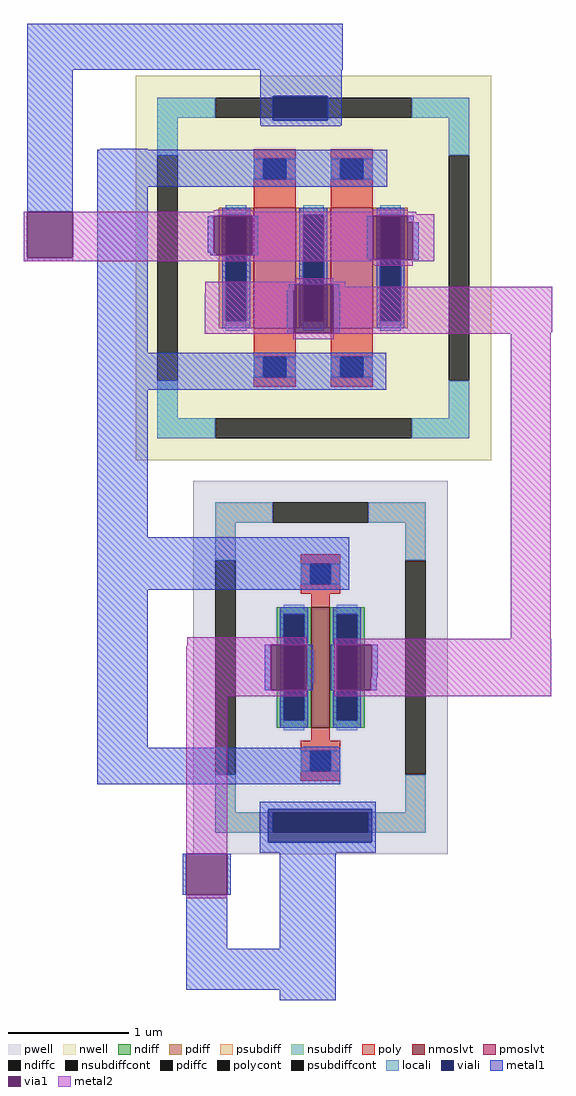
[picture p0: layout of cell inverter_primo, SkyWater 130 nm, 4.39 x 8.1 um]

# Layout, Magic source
magic
tech sky130A
magscale 1 2
<< viali >>
rect 552 2158 643 2198
rect 544 960 716 1015
<< metal1 >>
rect 144 2242 668 2318
rect 144 2006 220 2242
rect 531 2198 666 2242
rect 531 2158 552 2198
rect 643 2158 666 2198
rect 531 2150 666 2158
rect 533 2148 664 2150
rect 265 2109 344 2111
rect 144 1924 220 1930
rect 260 2048 742 2109
rect 260 1772 344 2048
rect 448 1999 458 2000
rect 444 1938 454 1999
rect 448 1934 458 1938
rect 518 1934 528 2000
rect 708 1928 718 2000
rect 776 1989 786 2000
rect 711 1927 721 1928
rect 784 1927 794 1989
rect 578 1876 588 1886
rect 652 1876 662 1886
rect 576 1805 586 1876
rect 653 1805 663 1876
rect 260 1711 740 1772
rect 260 1466 344 1711
rect 260 1379 679 1466
rect 260 1117 344 1379
rect 538 1212 548 1288
rect 608 1279 618 1288
rect 609 1223 619 1279
rect 608 1212 618 1223
rect 648 1212 658 1288
rect 716 1234 726 1288
rect 714 1212 724 1234
rect 260 1056 664 1117
rect 530 1015 723 1027
rect 530 960 544 1015
rect 716 960 723 1015
rect 530 942 723 960
rect 402 873 408 941
rect 476 873 482 941
rect 408 783 476 873
rect 563 783 656 942
rect 408 715 656 783
rect 563 698 656 715
<< via1 >>
rect 144 1930 220 2006
rect 458 1999 518 2000
rect 454 1938 518 1999
rect 458 1934 518 1938
rect 718 1989 776 2000
rect 718 1928 784 1989
rect 721 1927 784 1928
rect 588 1876 652 1886
rect 586 1805 653 1876
rect 548 1279 608 1288
rect 548 1223 609 1279
rect 548 1212 608 1223
rect 658 1234 716 1288
rect 658 1212 714 1234
rect 408 873 476 941
<< metal2 >>
rect 458 2009 518 2010
rect 454 2006 518 2009
rect 718 2006 776 2010
rect 138 1930 144 2006
rect 220 2002 790 2006
rect 220 2000 820 2002
rect 220 1999 458 2000
rect 220 1938 454 1999
rect 220 1934 458 1938
rect 518 1934 718 2000
rect 776 1989 820 2000
rect 220 1930 718 1934
rect 138 1928 718 1930
rect 138 1927 721 1928
rect 784 1927 820 1989
rect 138 1924 820 1927
rect 718 1918 784 1924
rect 721 1917 784 1918
rect 588 1890 652 1896
rect 440 1886 672 1890
rect 440 1876 588 1886
rect 652 1882 672 1886
rect 652 1876 1016 1882
rect 440 1870 586 1876
rect 439 1805 586 1870
rect 653 1806 1016 1876
rect 653 1805 1013 1806
rect 439 1804 1013 1805
rect 586 1795 653 1804
rect 410 1289 608 1300
rect 947 1298 1013 1804
rect 410 1288 609 1289
rect 410 1285 548 1288
rect 408 1212 548 1285
rect 608 1279 609 1288
rect 608 1213 609 1223
rect 654 1288 1014 1298
rect 408 1202 608 1212
rect 654 1212 658 1288
rect 716 1234 1014 1288
rect 714 1212 1014 1234
rect 654 1202 1014 1212
rect 408 941 476 1202
rect 408 867 476 873
use sky130_fd_pr__nfet_01v8_lvt_648S5X  XM22 ~/tt10-analog-template-psei-def/mag
transform 1 0 631 0 1 1250
box -211 -310 211 310
use sky130_fd_pr__pfet_01v8_lvt_4Q3NH3  XM25 ~/tt10-analog-template-psei-def/mag
transform 1 0 619 0 1 1913
box -295 -319 295 319
<< end >>

# cell sky130_fd_pr__nfet_01v8_lvt_648S5X: kit device sky130_fd_pr__nfet_01v8_lvt, w 1.0 l 0.15 m 1 nf 1 diffcov 100 polycov 100 guard 1 glc 1 grc 1 gtc 1 gbc 1 tbcov 100 rlcov 100 topc 1 botc 1 poverlap 0 doverlap 1 lmin 0.15 wmin 0.42 compatible {sky130_fd_pr__nfet_01v8 sky130_fd_pr__nfet_01v8_lvt sky130_fd_bs_flash__special_sonosfet_star sky130_fd_pr__nfet_g5v0d10v5 sky130_fd_pr__nfet_05v0_nvt sky130_fd_pr__nfet_03v3_nvt} full_metal 1 viasrc 100 viadrn 100 viagate 100 viagb 0 viagr 0 viagl 0 viagt 0

# cell sky130_fd_pr__pfet_01v8_lvt_4Q3NH3: kit device sky130_fd_pr__pfet_01v8_lvt, w 1.0 l 0.35 m 1 nf 2 diffcov 100 polycov 100 guard 1 glc 1 grc 1 gtc 1 gbc 1 tbcov 100 rlcov 100 topc 1 botc 1 poverlap 0 doverlap 1 lmin 0.35 wmin 0.42 compatible {sky130_fd_pr__pfet_01v8 sky130_fd_pr__pfet_01v8_lvt sky130_fd_pr__pfet_01v8_hvt sky130_fd_pr__pfet_g5v0d10v5} full_metal 1 viasrc 100 viadrn 100 viagate 100 viagb 0 viagr 0 viagl 0 viagt 0
